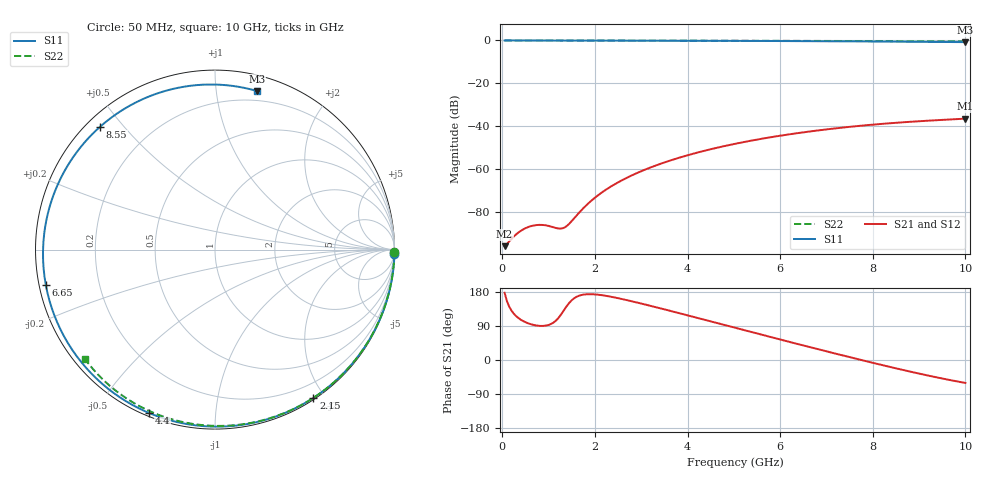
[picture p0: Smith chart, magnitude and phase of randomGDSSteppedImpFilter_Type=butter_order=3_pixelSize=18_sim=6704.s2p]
! freq	dB(S11)	phase(S11)	dB(S12)	phase(S12)
!  dB(S21)	phase(S21)	dB(S22)	phase(S22)
!S-par simulation data
#  GHz  S  DB  R 50
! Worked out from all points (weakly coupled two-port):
!   200 points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, 50 MHz to 10 GHz, reference 50 ohm
!   highest |S21| = -36.45 dB at 10 GHz (marker M1); lowest = -95.9 dB at 50 MHz (marker M2)
!   lowest |S11| = -0.8 dB at 10 GHz (marker M3), VSWR 22.25, Z = 6.03 + j64.7 ohm
!   |S11| at or under -10 dB: nowhere
!   |S22| runs from -0.5 to 0.0 dB; largest |S21 - S12| = 0
!   S11 on the Smith chart (normalised r, x): 50 MHz: 0, -85; 2.15 GHz: 0.02, -1.86; 4.4 GHz: 0.01, -0.68; 6.65 GHz: 0.02, -0.10; 8.55 GHz: 0.04, +0.43; 10 GHz: 0.12, +1.29
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0.05  -0.00 -1.3  -95.88 177.5  -95.88 177.5  -0.00 -0.8
0.8  -0.02 -21.4  -85.96 90.1  -85.96 90.1  -0.02 -12.9
1.65  -0.05 -43.7  -80.49 169.2  -80.49 169.2  -0.03 -26.3
1.75  -0.06 -46.2  -78.19 172.5  -78.19 172.5  -0.04 -27.9
2.15  -0.07 -56.5  -70.85 171.0  -70.85 171.0  -0.04 -34.1
2.7  -0.09 -70.3  -63.89 157.7  -63.89 157.7  -0.06 -42.6
3.4  -0.12 -87.6  -57.61 136.8  -57.61 136.8  -0.07 -53.1
3.9  -0.14 -99.8  -54.14 121.1  -54.14 121.1  -0.08 -60.4
4.4  -0.16 -111.9  -51.22 105.1  -51.22 105.1  -0.10 -67.6
5.05  -0.20 -127.7  -48.06 84.3  -48.06 84.3  -0.12 -76.7
5.9  -0.26 -148.7  -44.74 57.2  -44.74 57.2  -0.15 -88.3
6.65  -0.33 -168.3  -42.39 33.7  -42.39 33.7  -0.19 -98.2
6.7  -0.33 -169.6  -42.25 32.2  -42.25 32.2  -0.19 -98.8
7.15  -0.38 177.8  -41.08 18.2  -41.08 18.2  -0.22 -104.6
7.55  -0.43 166.0  -40.15 6.0  -40.15 6.0  -0.24 -109.7
7.95  -0.48 153.5  -39.33 -6.0  -39.33 -6.0  -0.27 -114.7
8.35  -0.53 140.2  -38.62 -17.7  -38.62 -17.7  -0.31 -119.7
8.55  -0.56 133.2  -38.29 -23.4  -38.29 -23.4  -0.32 -122.2
8.95  -0.62 118.4  -37.71 -34.5  -37.71 -34.5  -0.36 -127.1
9.35  -0.68 102.7  -37.20 -45.1  -37.20 -45.1  -0.40 -132.0
9.7  -0.73 88.1  -36.79 -53.7  -36.79 -53.7  -0.44 -136.3
10  -0.78 75.1  -36.45 -60.6  -36.45 -60.6  -0.48 -140.0
